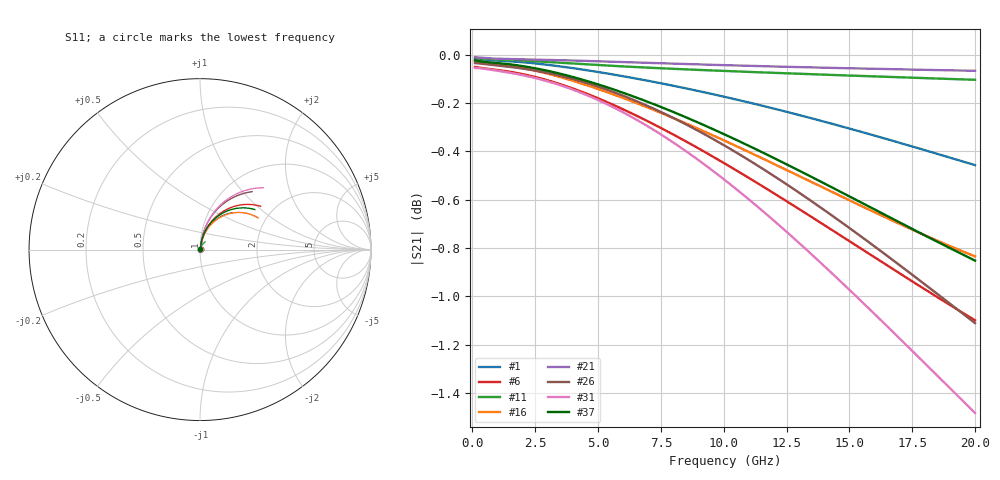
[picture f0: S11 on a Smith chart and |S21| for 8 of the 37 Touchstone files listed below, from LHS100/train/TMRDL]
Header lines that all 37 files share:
! Touchstone file exported from HFSS 2026.1.0
!  Design:  TMRDL
! Variables:
! Terminal data exported
# GHz S MA R 50.000000
Fixed: h_bsmrdl = 2um, h_ox = 20um, h_rdl = 5um, h_sub = 80um, h_tsv = 80um, h_via = 3um, l_bsmrdl = 300um, m_sub = 200um, r_tsv = 6um, s_tmrdl = 10um, w_bsmrdl = 18um, w_sub = 500um
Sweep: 100 MHz to 20 GHz
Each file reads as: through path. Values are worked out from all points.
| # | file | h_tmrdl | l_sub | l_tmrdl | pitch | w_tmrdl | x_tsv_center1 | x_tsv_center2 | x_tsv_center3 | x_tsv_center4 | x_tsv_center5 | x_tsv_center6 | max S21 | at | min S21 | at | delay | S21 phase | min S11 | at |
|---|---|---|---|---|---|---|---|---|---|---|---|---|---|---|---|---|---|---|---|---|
| 1 | dut0.s2p | 4.23um | 1003.36um | 603.36um | 50.44um | 29.33um | 618.025um | 936.025um | 1568.715um | 1886.715um | 2519.405um | 2837.405um | -0.02 dB | 100 MHz | -0.5 dB | 20 GHz | 5.42 ps | -20 deg at 10.1 GHz | -51.1 dB | 100 MHz |
| 2 | dut1.s2p | 5.9um | 1320.25um | 920.25um | 44.25um | 19.4um | 929.95um | 1247.95um | 2187.6um | 2505.6um | 3445.25um | 3763.25um | -0.03 dB | 100 MHz | -1.1 dB | 20 GHz | 7.91 ps | -31 deg at 10.1 GHz | -47.0 dB | 100 MHz |
| 3 | dut2.s2p | 2.87um | 881.49um | 481.49um | 53.29um | 13.2um | 488.09um | 806.09um | 1300.78um | 1618.78um | 2113.47um | 2431.47um | -0.04 dB | 100 MHz | -1.2 dB | 20 GHz | 5.52 ps | -21 deg at 10.1 GHz | -45.2 dB | 100 MHz |
| 4 | dut3.s2p | 4.92um | 930.12um | 530.12um | 30.45um | 10.81um | 535.525um | 853.525um | 1394.455um | 1712.455um | 2253.385um | 2571.385um | -0.03 dB | 100 MHz | -0.7 dB | 20 GHz | 4.96 ps | -19 deg at 10.1 GHz | -47.6 dB | 100 MHz |
| 5 | dut4.s2p | 5.8um | 1026.91um | 626.91um | 48.48um | 12.81um | 633.315um | 951.315um | 1591.035um | 1909.035um | 2548.755um | 2866.755um | -0.03 dB | 100 MHz | -1.2 dB | 20 GHz | 6.26 ps | -25 deg at 10.1 GHz | -47.1 dB | 100 MHz |
| 6 | dut5.s2p | 4.46um | 1239.51um | 839.51um | 28.39um | 11.22um | 845.12um | 1163.12um | 2013.85um | 2331.85um | 3182.58um | 3500.58um | -0.05 dB | 100 MHz | -1.1 dB | 20 GHz | 7.24 ps | -28 deg at 10.1 GHz | -43.5 dB | 100 MHz |
| 7 | dut6.s2p | 2.8um | 985.67um | 585.67um | 31.25um | 20.67um | 596.005um | 914.005um | 1520.345um | 1838.345um | 2444.685um | 2762.685um | -0.03 dB | 100 MHz | -0.3 dB | 20 GHz | 4.96 ps | -18 deg at 10.1 GHz | -47.7 dB | 100 MHz |
| 8 | dut7.s2p | 2.03um | 1017.02um | 617.02um | 45.12um | 27.23um | 630.635um | 948.635um | 1592.885um | 1910.885um | 2555.135um | 2873.135um | -0.04 dB | 100 MHz | -0.5 dB | 20 GHz | 5.63 ps | -21 deg at 10.1 GHz | -46.3 dB | 100 MHz |
| 9 | dut8.s2p | 2.33um | 666.18um | 266.18um | 57.95um | 24.91um | 278.635um | 596.635um | 887.725um | 1205.725um | 1496.815um | 1814.815um | -0.02 dB | 100 MHz | -0.3 dB | 20 GHz | 3.18 ps | -12 deg at 10.1 GHz | -52.2 dB | 100 MHz |
| 10 | dut9.s2p | 4.3um | 1050.27um | 650.27um | 14.65um | 12.6um | 656.57um | 974.57um | 1637.44um | 1955.44um | 2618.31um | 2936.31um | -0.04 dB | 100 MHz | -0.4 dB | 20 GHz | 5.13 ps | -19 deg at 10.1 GHz | -47.1 dB | 100 MHz |
| 11 | dut10.s2p | 5.68um | 779.12um | 379.12um | 23.31um | 16.62um | 387.43um | 705.43um | 1101.17um | 1419.17um | 1814.91um | 2132.91um | -0.01 dB | 100 MHz | -0.1 dB | 20 GHz | 2.96 ps | -11 deg at 10.1 GHz | -55.4 dB | 100 MHz |
| 12 | dut11.s2p | 3.55um | 600.5um | 200.5um | 56.19um | 14.82um | 207.91um | 525.91um | 741.23um | 1059.23um | 1274.55um | 1592.55um | -0.01 dB | 100 MHz | -0.3 dB | 20 GHz | 2.74 ps | -10 deg at 10.1 GHz | -53.8 dB | 100 MHz |
| 13 | dut12.s2p | 5.11um | 1098.18um | 698.18um | 40.04um | 12.04um | 704.2um | 1022.2um | 1732.42um | 2050.42um | 2760.64um | 3078.64um | -0.04 dB | 100 MHz | -1.2 dB | 20 GHz | 6.62 ps | -26 deg at 10.1 GHz | -45.7 dB | 100 MHz |
| 14 | dut13.s2p | 2.53um | 853.9um | 453.9um | 57.83um | 21.1um | 464.45um | 782.45um | 1257.45um | 1575.45um | 2050.45um | 2368.45um | -0.03 dB | 100 MHz | -0.8 dB | 20 GHz | 5.02 ps | -19 deg at 10.1 GHz | -47.8 dB | 100 MHz |
| 15 | dut14.s2p | 4.2um | 1183.66um | 783.66um | 43.61um | 29.55um | 798.435um | 1116.435um | 1929.645um | 2247.645um | 3060.855um | 3378.855um | -0.02 dB | 100 MHz | -0.4 dB | 20 GHz | 6.51 ps | -24 deg at 10.1 GHz | -49.9 dB | 100 MHz |
| 16 | dut15.s2p | 4.56um | 1380.94um | 980.94um | 46.74um | 26.03um | 993.955um | 1311.955um | 2318.925um | 2636.925um | 3643.895um | 3961.895um | -0.03 dB | 100 MHz | -0.8 dB | 20 GHz | 8.26 ps | -32 deg at 10.1 GHz | -47.1 dB | 100 MHz |
| 17 | dut16.s2p | 2.72um | 583.38um | 183.38um | 47.75um | 29.78um | 198.27um | 516.27um | 729.43um | 1047.43um | 1260.59um | 1578.59um | -0.01 dB | 100 MHz | -0.1 dB | 20 GHz | 1.95 ps | -7 deg at 10.1 GHz | -57.4 dB | 100 MHz |
| 18 | dut17.s2p | 4.51um | 650.76um | 250.76um | 32.81um | 24.28um | 262.9um | 580.9um | 855.94um | 1173.94um | 1448.98um | 1766.98um | -0.01 dB | 100 MHz | -0.1 dB | 20 GHz | 2.12 ps | -8 deg at 10.1 GHz | -58.8 dB | 100 MHz |
| 19 | dut18.s2p | 2.66um | 988.02um | 588.02um | 35.44um | 13.36um | 594.7um | 912.7um | 1514.08um | 1832.08um | 2433.46um | 2751.46um | -0.05 dB | 100 MHz | -1.0 dB | 20 GHz | 5.75 ps | -22 deg at 10.1 GHz | -43.7 dB | 100 MHz |
| 20 | dut19.s2p | 4.66um | 705.35um | 305.35um | 44.07um | 15.24um | 312.97um | 630.97um | 951.56um | 1269.56um | 1590.15um | 1908.15um | -0.01 dB | 100 MHz | -0.4 dB | 20 GHz | 3.31 ps | -12 deg at 10.1 GHz | -53.0 dB | 100 MHz |
| 21 | dut20.s2p | 3.9um | 580.82um | 180.82um | 17.64um | 14.53um | 188.085um | 506.085um | 701.435um | 1019.435um | 1214.785um | 1532.785um | -0.01 dB | 100 MHz | -0.1 dB | 20 GHz | 1.43 ps | -5 deg at 10.1 GHz | -57.6 dB | 100 MHz |
| 22 | dut22.s2p | 3.23um | 820.04um | 420.04um | 37.92um | 15.06um | 427.57um | 745.57um | 1180.67um | 1498.67um | 1933.77um | 2251.77um | -0.03 dB | 100 MHz | -0.5 dB | 20 GHz | 4.26 ps | -16 deg at 10.1 GHz | -48.6 dB | 100 MHz |
| 23 | dut23.s2p | 2.71um | 654.48um | 254.48um | 33.79um | 21.99um | 265.475um | 583.475um | 859.945um | 1177.945um | 1454.415um | 1772.415um | -0.02 dB | 100 MHz | -0.1 dB | 20 GHz | 2.36 ps | -9 deg at 10.1 GHz | -54.1 dB | 100 MHz |
| 24 | dut25.s2p | 3.28um | 618.75um | 218.75um | 25.09um | 21.26um | 229.38um | 547.38um | 787.39um | 1105.39um | 1345.4um | 1663.4um | -0.01 dB | 100 MHz | -0.1 dB | 20 GHz | 1.77 ps | -7 deg at 10.1 GHz | -57.1 dB | 100 MHz |
| 25 | dut26.s2p | 3.34um | 797.63um | 397.63um | 20.08um | 11.08um | 403.17um | 721.17um | 1129.88um | 1447.88um | 1856.59um | 2174.59um | -0.03 dB | 100 MHz | -0.3 dB | 20 GHz | 3.39 ps | -13 deg at 10.1 GHz | -47.8 dB | 100 MHz |
| 26 | dut27.s2p | 2.59um | 912.94um | 512.94um | 58.09um | 18.1um | 521.99um | 839.99um | 1371.03um | 1689.03um | 2220.07um | 2538.07um | -0.04 dB | 100 MHz | -1.1 dB | 20 GHz | 5.67 ps | -22 deg at 10.1 GHz | -46.0 dB | 100 MHz |
| 27 | dut28.s2p | 5.42um | 1300.77um | 900.77um | 41.81um | 28.47um | 915.005um | 1233.005um | 2162.245um | 2480.245um | 3409.485um | 3727.485um | -0.02 dB | 100 MHz | -0.4 dB | 20 GHz | 7.26 ps | -27 deg at 10.1 GHz | -50.3 dB | 100 MHz |
| 28 | dut29.s2p | 5.31um | 1210.96um | 810.96um | 37.81um | 28.27um | 825.095um | 1143.095um | 1982.325um | 2300.325um | 3139.555um | 3457.555um | -0.02 dB | 100 MHz | -0.2 dB | 20 GHz | 6.4 ps | -24 deg at 10.1 GHz | -51.6 dB | 100 MHz |
| 29 | dut30.s2p | 5.17um | 671.6um | 271.6um | 26.17um | 23.99um | 283.595um | 601.595um | 897.185um | 1215.185um | 1510.775um | 1828.775um | -0.01 dB | 100 MHz | -0.1 dB | 20 GHz | 2.28 ps | -8 deg at 10.1 GHz | -59.8 dB | 100 MHz |
| 30 | dut31.s2p | 3.65um | 840.71um | 440.71um | 32.78um | 28.02um | 454.72um | 772.72um | 1241.45um | 1559.45um | 2028.18um | 2346.18um | -0.02 dB | 100 MHz | -0.1 dB | 20 GHz | 3.5 ps | -13 deg at 10.1 GHz | -54.4 dB | 100 MHz |
| 31 | dut32.s2p | 2.3um | 947.34um | 547.34um | 54.59um | 13.5um | 554.09um | 872.09um | 1432.93um | 1750.93um | 2311.77um | 2629.77um | -0.06 dB | 100 MHz | -1.5 dB | 20 GHz | 6.18 ps | -24 deg at 10.1 GHz | -42.8 dB | 100 MHz |
| 32 | dut33.s2p | 4.16um | 508.55um | 108.55um | 52.31um | 23.78um | 120.44um | 438.44um | 570.77um | 888.77um | 1021.1um | 1339.1um | -0.01 dB | 100 MHz | -0.1 dB | 20 GHz | 1.44 ps | -5 deg at 10.1 GHz | -61.4 dB | 100 MHz |
| 33 | dut34.s2p | 2.05um | 894.41um | 494.41um | 58.57um | 17.47um | 503.145um | 821.145um | 1333.025um | 1651.025um | 2162.905um | 2480.905um | -0.04 dB | 100 MHz | -1.2 dB | 20 GHz | 5.65 ps | -22 deg at 10.1 GHz | -44.5 dB | 100 MHz |
| 34 | dut35.s2p | 4.61um | 958.22um | 558.22um | 51.03um | 11.73um | 564.085um | 882.085um | 1452.035um | 1770.035um | 2339.985um | 2657.985um | -0.03 dB | 100 MHz | -1.3 dB | 20 GHz | 5.99 ps | -24 deg at 10.1 GHz | -46.2 dB | 100 MHz |
| 35 | dut36.s2p | 4.37um | 1146.32um | 746.32um | 15.31um | 11.86um | 752.25um | 1070.25um | 1828.43um | 2146.43um | 2904.61um | 3222.61um | -0.05 dB | 100 MHz | -0.3 dB | 20 GHz | 5.63 ps | -21 deg at 10.1 GHz | -45.6 dB | 100 MHz |
| 36 | dut38.s2p | 5.38um | 919.73um | 519.73um | 50.05um | 24.46um | 531.96um | 849.96um | 1394.15um | 1712.15um | 2256.34um | 2574.34um | -0.01 dB | 100 MHz | -0.5 dB | 20 GHz | 4.87 ps | -18 deg at 10.1 GHz | -52.1 dB | 100 MHz |
| 37 | dut39.s2p | 3.97um | 1215.7um | 815.7um | 54.63um | 28.8um | 830.1um | 1148.1um | 1992.6um | 2310.6um | 3155.1um | 3473.1um | -0.02 dB | 100 MHz | -0.9 dB | 20 GHz | 7.25 ps | -28 deg at 10.1 GHz | -47.9 dB | 100 MHz |
